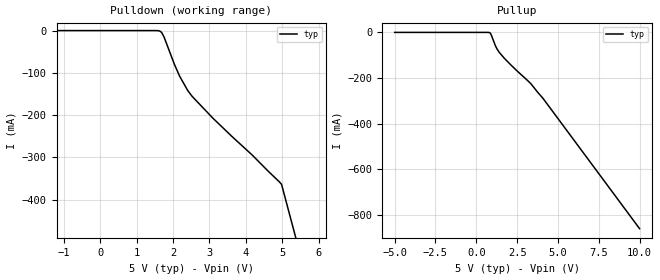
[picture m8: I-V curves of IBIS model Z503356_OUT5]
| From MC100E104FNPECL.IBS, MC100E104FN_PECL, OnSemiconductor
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| (C) COPYRIGHT 1993-2000
| MENTOR GRAPHICS CORPORATION
| ICX STANDARD LIBRARY, ICX PROJECT MODELING,
| ICX CUSTOM MODELING, ICX VENDOR MODEL
| ALL RIGHTS RESERVED.
| THE FOLLOWING ARE TRADEMARKS OR SERVICE MARKS OF
| MENTOR GRAPHICS CORPORATION:ICX (R), ICX STANDARD
| LIBRARY(R), ICX PROJECT MODELING(R), ICX CUSTOM
| MODELING(R), qualityIBIS(TM), MODELVIEWER(TM),
| AND MODELEDITOR(TM)
| ALL COPIES OF SOFTWARE, INCLUDING BUT NOT LIMITED TO
| ANY MODIFICATIONS, ENHANCEMENTS OR DERIVATIVE WORKS,
| MUST CONTAIN ALL MENTOR GRAPHICS CORPORATION'S
| NOTICES AND LEGENDS, INCLUDING THOSE EMBEDDED IN
| SOFTWARE AND THOSE AFFIXED TO SOFTWARE MEDIUM
| AND CONTAINER, AS RECEIVED FROM MENTOR GRAPHICS
| CORPORATION.
| Model Application Version 1.89 2/18/99.
[Model] Z503356_OUT5
Model_type Output_ECL
Vref=3.000V
Rref=50.00ohms
Cref=0.000F
Vmeas=3.677V
C_comp 8.000pF NA NA
| variable typ   min   max
[Voltage Range] 5.000V NA NA
[POWER Clamp Reference] 5.000V NA NA
[Pullup Reference] 5.000V NA NA
[Pulldown Reference] 5.000V NA NA
[GND Clamp Reference] 0.000V NA NA
[GND Clamp]
-5V       0A         NA         NA
10V       0A         NA         NA
[Pulldown]
-5V       0A         NA         NA
1.613V    -500uA     NA         NA
1.694V    -5.4mA     NA         NA
1.755V    -15.5mA    NA         NA
2.039V    -80.1mA    NA         NA
2.181V    -107.8mA   NA         NA
2.404V    -141.8mA   NA         NA
2.526V    -155.7mA   NA         NA
3.094V    -207.1mA   NA         NA
4.17V     -294mA     NA         NA
4.982V    -363.8mA   NA         NA
10V       -1.989A    NA         NA
[Pullup]
-5V       0A         NA         NA
827mV     -1.5mA     NA         NA
908mV     -9.7mA     NA         NA
1.172V    -59mA      NA         NA
1.395V    -86.4mA    NA         NA
2.105V    -141.6mA   NA         NA
3.363V    -226.4mA   NA         NA
4.073V    -287.6mA   NA         NA
10V       -859.1mA   NA         NA
[POWER Clamp]
-5V       0A         NA         NA
10V       0A         NA         NA
[Ramp]
| variable typ min max
dV/dt_r 482.4m/357.5p NA NA
dV/dt_f 482.4m/207.9p NA NA
R_load = 500.0Ohms
